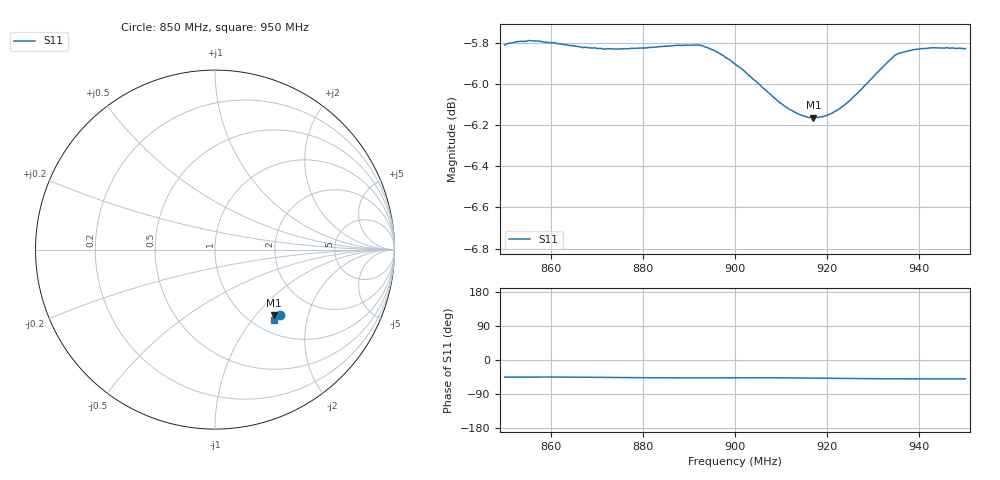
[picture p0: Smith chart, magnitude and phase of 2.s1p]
!CEYEAR,3656B,QZNG000064,1.3.8
!Calibration ON (Full Solt 2-Port(Omit Isolation))
!Measurements:S11
!2025-12-13 10:21
# Hz  S  dB  R 50.000
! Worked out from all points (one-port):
!   201 points, 850 MHz to 950 MHz, reference 50 ohm
!   lowest |S11| = -6.2 dB at 917 MHz (marker M1), VSWR 2.94, Z = 65 - j62.6 ohm
!   |S11| at or under -10 dB: nowhere
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8.5e8  -5.81 -45.1
8.53e8  -5.79 -45.0
8.555e8  -5.79 -44.9
8.59e8  -5.80 -44.9
8.625e8  -5.81 -45.1
8.67e8  -5.82 -45.4
8.75e8  -5.83 -46.3
8.805e8  -5.82 -46.8
8.835e8  -5.82 -46.9
8.875e8  -5.81 -47.0
8.925e8  -5.81 -47.0
8.965e8  -5.85 -46.8
9e8  -5.90 -46.7
9.035e8  -5.97 -46.6
9.07e8  -6.04 -46.7
9.095e8  -6.09 -46.9
9.125e8  -6.13 -47.2
9.15e8  -6.16 -47.6
9.17e8  -6.16 -48.0
9.19e8  -6.16 -48.3
9.21e8  -6.14 -48.6
9.25e8  -6.08 -49.2
9.29e8  -5.99 -49.5
9.33e8  -5.90 -49.6
9.35e8  -5.86 -49.6
9.375e8  -5.84 -49.6
9.44e8  -5.82 -49.6
9.5e8  -5.83 -49.9
